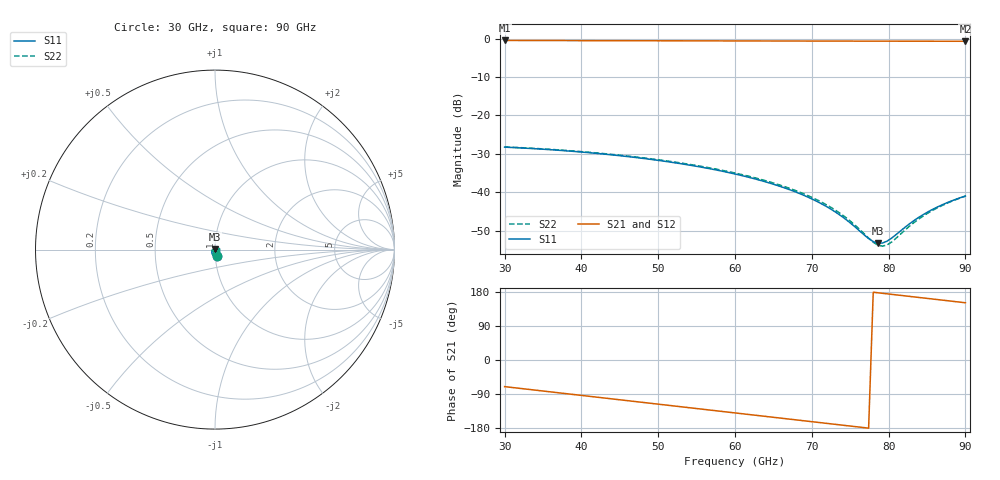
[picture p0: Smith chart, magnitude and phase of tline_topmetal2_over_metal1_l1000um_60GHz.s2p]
#  GHZ S DB R 50
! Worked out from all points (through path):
!   101 points, 30 GHz to 90 GHz, reference 50 ohm
!   highest |S21| = -0.46 dB at 30 GHz (marker M1); lowest = -0.7 dB at 90 GHz (marker M2)
!   group delay of S21, straight-line fit = 6.42 ps
!   lowest |S11| = -53.3 dB at 78.6 GHz (marker M3), VSWR 1.00, Z = 50.1 + j0.206 ohm
!   |S11| at or under -10 dB: start of sweep to end of sweep
!   |S22| runs from -54.0 to -28.2 dB; largest |S21 - S12| = 1.1e-14
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30  -28.25 -72.7  -0.46 -70.3  -0.46 -70.3  -28.19 -72.7
35.4  -28.84 -88.3  -0.49 -82.8  -0.49 -82.8  -28.75 -88.2
40.2  -29.55 -102.1  -0.51 -93.9  -0.51 -93.9  -29.45 -102.1
45  -30.47 -116.0  -0.53 -105.0  -0.53 -105.0  -30.34 -115.9
50.4  -31.80 -131.8  -0.55 -117.5  -0.55 -117.5  -31.64 -131.5
55.2  -33.31 -146.0  -0.56 -128.6  -0.56 -128.6  -33.11 -145.6
60  -35.24 -160.7  -0.58 -139.6  -0.58 -139.6  -34.99 -160.0
65.4  -38.16 -178.4  -0.60 -152.1  -0.60 -152.1  -37.84 -177.3
67.8  -39.85 172.8  -0.61 -157.7  -0.61 -157.7  -39.49 174.2
70.2  -41.92 162.8  -0.62 -163.2  -0.62 -163.2  -41.51 164.8
72  -43.81 153.9  -0.62 -167.4  -0.62 -167.4  -43.37 156.6
73.8  -46.13 142.6  -0.63 -171.5  -0.63 -171.5  -45.65 146.3
75.6  -48.97 126.3  -0.63 -175.7  -0.63 -175.7  -48.51 131.8
77.4  -52.06 98.7  -0.64 -179.8  -0.64 -179.8  -51.94 107.1
78.6  -53.26 71.0  -0.64 177.4  -0.64 177.4  -53.77 79.8
79.2  -53.22 55.8  -0.64 176.0  -0.64 176.0  -54.04 63.4
79.8  -52.73 41.5  -0.65 174.6  -0.65 174.6  -53.72 47.0
80.4  -51.93 29.1  -0.65 173.2  -0.65 173.2  -52.94 32.6
82.8  -48.10 -2.8  -0.65 167.7  -0.65 167.7  -48.70 -3.0
84.6  -45.70 -16.4  -0.66 163.5  -0.66 163.5  -46.06 -17.1
87  -43.24 -29.3  -0.67 158.0  -0.67 158.0  -43.42 -30.0
90  -40.98 -41.8  -0.67 151.1  -0.67 151.1  -41.02 -42.4
